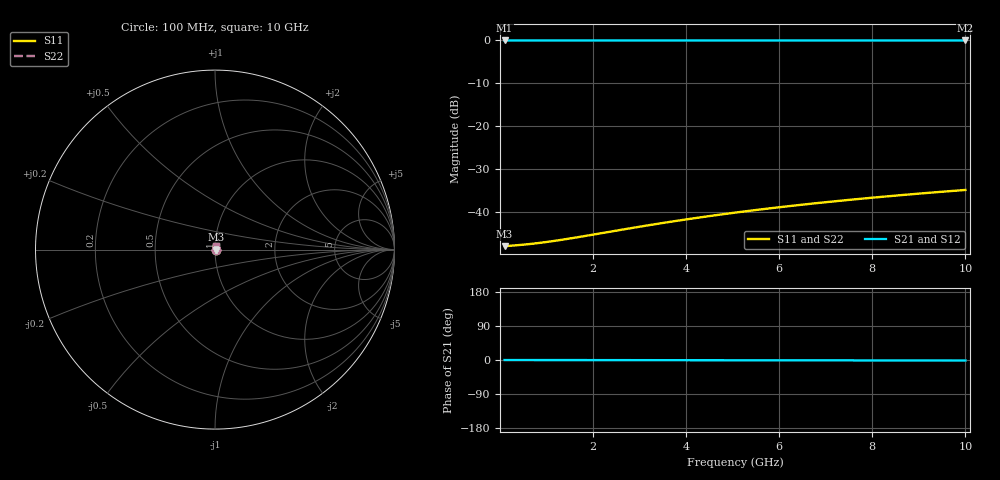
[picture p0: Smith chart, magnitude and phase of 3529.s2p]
# Hz S RI R 50.00
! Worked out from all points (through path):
!   100 points, 100 MHz to 10 GHz, reference 50 ohm
!   highest |S21| = -0.03 dB at 100 MHz (marker M1); lowest = 0.0 dB at 10 GHz (marker M2)
!   lowest |S11| = -48.0 dB at 100 MHz (marker M3), VSWR 1.01, Z = 50.4 + j0.0176 ohm
!   |S11| at or under -10 dB: start of sweep to end of sweep
!   |S22| runs from -48.0 to -34.9 dB; largest |S21 - S12| = 0
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1e8  0.00399 0.000174  0.996 -0.000234  0.996 -0.000234  0.00399 0.000174
3e8  0.00404 0.000523  0.996 -0.000701  0.996 -0.000701  0.00404 0.000523
5e8  0.00407 0.000871  0.9959 -0.00117  0.9959 -0.00117  0.00407 0.000871
7e8  0.00409 0.00122  0.9959 -0.00163  0.9959 -0.00163  0.00409 0.00122
9e8  0.00411 0.00157  0.9959 -0.0021  0.9959 -0.0021  0.00411 0.00157
1.1e9  0.00412 0.00192  0.9959 -0.00257  0.9959 -0.00257  0.00412 0.00192
1.3e9  0.00414 0.00227  0.9959 -0.00304  0.9959 -0.00304  0.00414 0.00227
1.8e9  0.00417 0.00314  0.9958 -0.0042  0.9958 -0.0042  0.00417 0.00314
2.8e9  0.00423 0.00488  0.9958 -0.00654  0.9958 -0.00654  0.00423 0.00488
3.4e9  0.00426 0.00592  0.9957 -0.00794  0.9957 -0.00794  0.00426 0.00592
3.8e9  0.00429 0.00662  0.9957 -0.00887  0.9957 -0.00887  0.00429 0.00662
4.2e9  0.00431 0.00732  0.9957 -0.00981  0.9957 -0.00981  0.00431 0.00732
4.6e9  0.00433 0.00801  0.9957 -0.0107  0.9957 -0.0107  0.00433 0.00801
5.1e9  0.00437 0.00888  0.9956 -0.0119  0.9956 -0.0119  0.00437 0.00888
5.5e9  0.00439 0.00958  0.9956 -0.0128  0.9956 -0.0128  0.00439 0.00958
5.9e9  0.00442 0.0103  0.9956 -0.0138  0.9956 -0.0138  0.00442 0.0103
6.3e9  0.00445 0.011  0.9955 -0.0147  0.9955 -0.0147  0.00445 0.011
6.7e9  0.00447 0.0117  0.9955 -0.0156  0.9955 -0.0156  0.00447 0.0117
7.5e9  0.00454 0.0131  0.9954 -0.0175  0.9954 -0.0175  0.00454 0.0131
8.4e9  0.00461 0.0146  0.9954 -0.0196  0.9954 -0.0196  0.00461 0.0146
9.2e9  0.00468 0.016  0.9953 -0.0215  0.9953 -0.0215  0.00468 0.016
1e10  0.00476 0.0174  0.9952 -0.0233  0.9952 -0.0233  0.00476 0.0174
